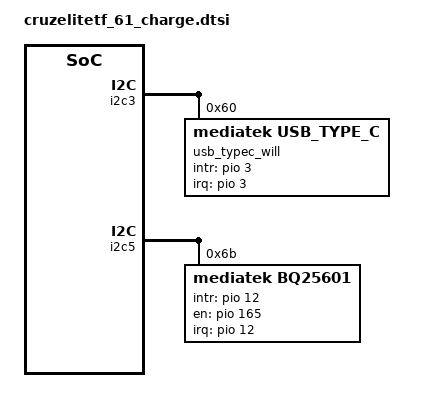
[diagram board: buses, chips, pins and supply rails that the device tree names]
// SPDX-License-Identifier: GPL-2.0+
&mt6370_pmu {
	mt6370,intr_gpio_num = <11>; /* direct defined GPIO num */
	mt6370,intr_gpio = <&pio 11 0x0>;
	status = "disabled";
};

&mt6370_chg {
	bc12_sel = <1>;
	status = "disabled";
};

&i2c3 {
	rt9465@4b {
		compatible = "richtek,rt9465";
		reg = <0x4b>;
		status = "disabled";
		rt,en_gpio_num = <176>;
		rt,en_gpio = <&pio 176 0x0>;
		rt,intr_gpio_num = <23>; /* direct defined GPIO num */
		rt,intr_gpio = <&pio 23 0x0>;
		interrupt-names = "wdtmri";
		charger_name = "secondary_chg";
		ichg = <1500000>; /* uA */
		mivr = <4500000>; /* uV */
		cv = <4550000>; /* uV */
		ieoc = <700000>; /* uA */
		safety_timer = <12>; /* hour */
		en_st; /* safety timer */
		/* en_te; */
		en_wdt;
	};
};

&mt6370_typec {
	mt6370pd,intr_gpio_num = <41>; /* direct defined GPIO num */
	mt6370pd,intr_gpio = <&pio 41 0x0>;
	status = "disabled";
};

&pe {
	status = "disabled";
};

&pe2 {
	status = "disabled";
};

&pe4 {
	status = "disabled";
};

&pdc {
	status = "disabled";
};

&mtk_charger_type {
	bc12_active = <1>;
};

&usb {
	charger = <&mtk_charger_type>;
};

&u2port0 {
	mediatek,eye-rev6 = <2>; /* 0~3 */
};

&extcon_usb {
	charger = <&mtk_charger_type>;
	vbus-supply;
	/*vbus-supply = <&boost_otg_vbus>;
	vbus-voltage = <5000000>;
	vbus-current = <500000>;*/
};

&lk_charger {
	enable_anime;
	power_path_support;
	max_charger_voltage = <6500000>;
	fast_charge_voltage = <3000000>;

	/* charging current */
	usb_charger_current = <500000>;
	ac_charger_current = <500000>;
	ac_charger_input_current = <2050000>;
	non_std_ac_charger_current = <500000>;
	charging_host_charger_current = <500000>;

	led_brightness = <127>;
	blinking_times = <6>;
	blinking_period = <1500>;
	temp_t4_threshold = <55>;
	temp_t3_threshold = <45>;
	temp_t1_threshold = <6>;
	temp_t0_threshold = <1>;
};

&charger {
	charger = <&mtk_charger_type>;
	/delete-property/enable_pe_plus;
	/delete-property/enable_pe_2;
	/delete-property/enable_pe_3;
	/delete-property/enable_pe_4;
	/delete-property/enable_type_c;
	/delete-property/enable_min_charge_temp;
	/delete-property/enable_dynamic_mivr;
	ac_charger_input_current = <2050000>;
	ac_charger_current = <2000000>;
	charging_host_charger_current = <1300000>;
	battery_cv = <4400000>;
	enable_sw_jeita;
	/* sw jeita */
	jeita_temp_above_t4_cv = <4100000>;
	jeita_temp_t3_to_t4_cv = <4100000>;
	jeita_temp_t2_to_t3_cv = <4400000>;
	jeita_temp_t1_to_t2_cv = <4400000>;
	jeita_temp_t0_to_t1_cv = <4400000>;
	jeita_temp_below_t0_cv = <4400000>;
	jeita_temp_above_t4_current = <0>;
	jeita_temp_t3_to_t4_current = <1900000>;
	jeita_temp_t2_to_t3_current = <2000000>;
	jeita_temp_t1_to_t2_current = <1100000>;
	jeita_temp_t0_to_t1_current = <1100000>;
	jeita_temp_below_t0_current = <0>;

#if defined(TARGET_BUILD_IEEE1725)
	temp_t4_thres = <53>;
#else
	temp_t4_thres = <55>;
#endif
	temp_t4_thres_minus_x_degree = <51>;
	temp_t3_thres = <42>;
	temp_t3_thres_minus_x_degree = <43>;
	temp_t2_thres = <11>;
	temp_t2_thres_plus_x_degree = <10>;
	temp_t1_thres = <6>;
	temp_t1_thres_plus_x_degree = <5>;
#if defined(TARGET_BUILD_IEEE1725)
	temp_t0_thres = <2>;
	temp_t0_thres_plus_x_degree = <1>;
	temp_neg_10_thres = <2>;
#else
	temp_t0_thres = <1>;
	temp_t0_thres_plus_x_degree = <0>;
	temp_neg_10_thres = <1>;
#endif

	enable_min_charge_temp;
	min_charge_temp = <1>;
#if defined(TARGET_BUILD_IEEE1725)
	min_charge_temp_plus_x_degree = <2>;
	max_charge_temp = <53>;
#else
	min_charge_temp_plus_x_degree = <1>;
	max_charge_temp = <55>;
#endif
	max_charge_temp_minus_x_degree = <51>;
};

&i2c3 {
	usb_typec_will:usb_type_c@60 {
		compatible = "mediatek,usb_type_c";
		reg = <0x60>;
		interrupt-parent = <&pio>;
		interrupts = <3 0>;
		wusb3801,intr_gpio = <&pio 3 0x0>;
		interrupt-names = "wusb3801_int_irq";
		status = "okay";
	};
};

&i2c5 {
	bq25601:bq25601@6B {
		compatible = "mediatek,bq25601";
		reg = <0x6B>;
		charger_name = "primary_chg";
		alias_name = "bq25601";
		interrupt-parent = <&pio>;
		interrupts = <12 0>;
		bq25601,intr_gpio = <&pio 12 0x0>;
		bq25601,en_gpio = <&pio 165 0x0>;
		status = "okay";
	};
};
